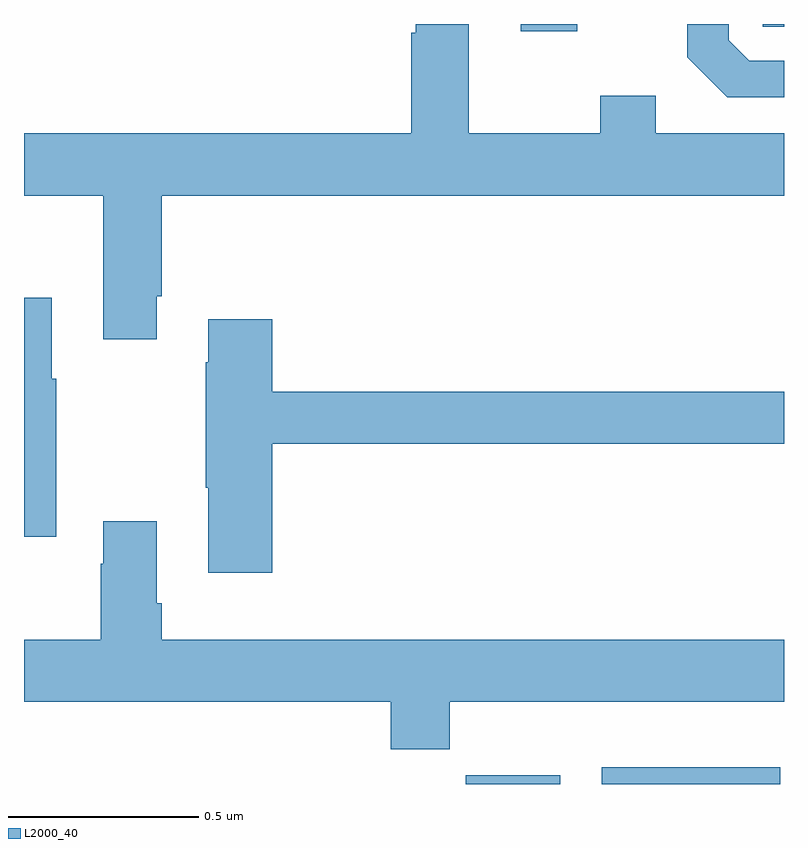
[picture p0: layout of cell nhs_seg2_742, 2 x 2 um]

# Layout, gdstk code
import gdstk
lib = gdstk.Library(unit=1e-6, precision=1e-09)
def R(c, l, rs):  # rectangles x0, y0, x1, y1
    for r in rs: c.add(gdstk.rectangle(r[:2], r[2:], *l))
def P(c, l, *ps):  # polygons
    for p in ps: c.add(gdstk.Polygon(p, *l))
L2000_40 = (2000, 40)

nhs_seg2_742 = lib.new_cell('nhs_seg2_742')
R(nhs_seg2_742, L2000_40, [(121.162,600.8,121.411,600.823), (121.521,600.8,121.99,600.844), (121.307,602.781,121.456,602.8), (121.944,602.793,122,602.8)])
P(nhs_seg2_742, L2000_40, [(120.349,602.083),(120.362,602.083),(120.362,602.348),(122,602.348),(122,602.512),(121.663,602.512),(121.663,602.611),(121.516,602.611),(121.516,602.512),(121.171,602.512),(121.171,602.8),(121.031,602.8),(121.031,602.777),(121.019,602.777),(121.019,602.512),(120,602.512),(120,602.348),(120.209,602.348),(120.209,601.971),(120.349,601.971)],
  [(122,602.703),(121.908,602.703),(121.854,602.757),(121.854,602.8),(121.746,602.8),(121.746,602.713),(121.851,602.607),(122,602.607)],
  [(120.085,601.867),(120.073,601.867),(120.073,602.08),(120,602.08),(120,601.451),(120.085,601.451)],
  [(120.653,601.696),(122,601.696),(122,601.832),(120.653,601.832),(120.653,602.023),(120.485,602.023),(120.485,601.91),(120.478,601.91),(120.478,601.579),(120.485,601.579),(120.485,601.356),(120.653,601.356)],
  [(121.121,601.016),(122,601.016),(122,601.18),(120.362,601.18),(120.362,601.276),(120.349,601.276),(120.349,601.492),(120.209,601.492),(120.209,601.379),(120.202,601.379),(120.202,601.18),(120,601.18),(120,601.016),(120.965,601.016),(120.965,600.892),(121.121,600.892)])

lib.write_gds('nhs_seg2_742.gds')
